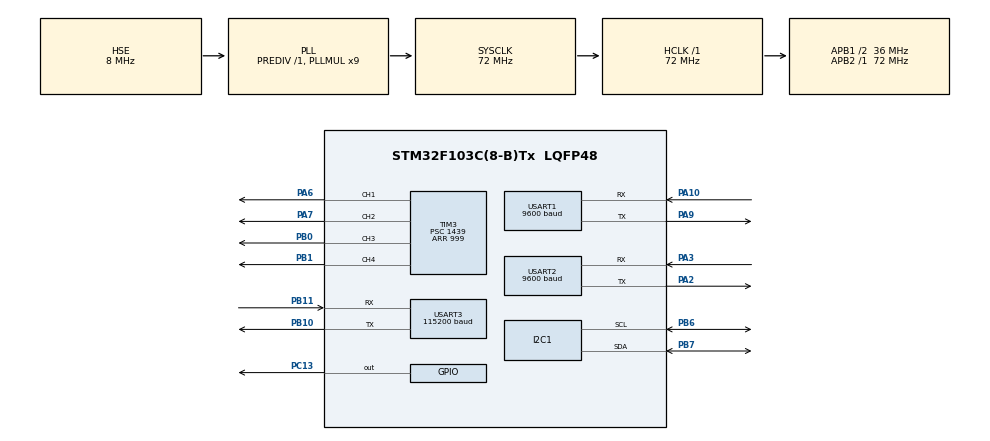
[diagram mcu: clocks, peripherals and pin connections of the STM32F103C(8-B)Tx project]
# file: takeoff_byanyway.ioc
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FREERTOS.Tasks01=defaultTask,0,128,StartDefaultTask,Default,NULL,Dynamic,NULL,NULL;myTask02,0,128,StartTask02,Default,NULL,Dynamic,NULL,NULL;myTask03,0,128,StartTask03,Default,NULL,Dynamic,NULL,NULL
Mcu.Family=STM32F1
Mcu.Name=STM32F103C(8-B)Tx
Mcu.Package=LQFP48
NVIC.PriorityGroup=NVIC_PRIORITYGROUP_4
NVIC.TIM1_UP_IRQn=true\:15\:0\:false\:false\:true\:false\:false\:true\:true
NVIC.TimeBase=TIM1_UP_IRQn
NVIC.TimeBaseIP=TIM1
NVIC.USART1_IRQn=true\:5\:0\:false\:false\:true\:true\:true\:true\:true
NVIC.USART2_IRQn=true\:5\:0\:false\:false\:true\:true\:true\:true\:true
NVIC.USART3_IRQn=true\:5\:0\:false\:false\:true\:true\:true\:true\:true
PA10.Mode=Asynchronous
PA10.Signal=USART1_RX
PA13.Mode=Serial_Wire
PA13.Signal=SYS_JTMS-SWDIO
PA14.Mode=Serial_Wire
PA14.Signal=SYS_JTCK-SWCLK
PA2.Mode=Asynchronous
PA2.Signal=USART2_TX
PA3.Mode=Asynchronous
PA3.Signal=USART2_RX
PA6.Signal=S_TIM3_CH1
PA7.Signal=S_TIM3_CH2
PA9.Mode=Asynchronous
PA9.Signal=USART1_TX
PB0.Signal=S_TIM3_CH3
PB1.Signal=S_TIM3_CH4
PB10.Mode=Asynchronous
PB10.Signal=USART3_TX
PB11.Mode=Asynchronous
PB11.Signal=USART3_RX
PB6.Mode=I2C
PB6.Signal=I2C1_SCL
PB7.Mode=I2C
PB7.Signal=I2C1_SDA
PC13-TAMPER-RTC.Signal=GPIO_Output
PD0-OSC_IN.Mode=HSE-External-Oscillator
PD0-OSC_IN.Signal=RCC_OSC_IN
PD1-OSC_OUT.Mode=HSE-External-Oscillator
PD1-OSC_OUT.Signal=RCC_OSC_OUT
ProjectManager.HeapSize=0x200
ProjectManager.StackSize=0x400
ProjectManager.TargetToolchain=STM32CubeIDE
RCC.ADCPresc=RCC_ADCPCLK2_DIV6
RCC.AHBFreq_Value=72000000
RCC.APB1CLKDivider=RCC_HCLK_DIV2
RCC.APB1Freq_Value=36000000
RCC.APB1TimFreq_Value=72000000
RCC.APB2Freq_Value=72000000
RCC.APB2TimFreq_Value=72000000
RCC.HCLKFreq_Value=72000000
RCC.PLLMUL=RCC_PLL_MUL9
RCC.PLLSourceVirtual=RCC_PLLSOURCE_HSE
RCC.SYSCLKFreq_VALUE=72000000
RCC.SYSCLKSource=RCC_SYSCLKSOURCE_PLLCLK
RCC.USBFreq_Value=72000000
SH.S_TIM3_CH1.0=TIM3_CH1,PWM Generation1 CH1
SH.S_TIM3_CH2.0=TIM3_CH2,PWM Generation2 CH2
SH.S_TIM3_CH3.0=TIM3_CH3,PWM Generation3 CH3
SH.S_TIM3_CH4.0=TIM3_CH4,PWM Generation4 CH4
TIM3.Channel-PWM\ Generation1\ CH1=TIM_CHANNEL_1
TIM3.Channel-PWM\ Generation2\ CH2=TIM_CHANNEL_2
TIM3.Channel-PWM\ Generation3\ CH3=TIM_CHANNEL_3
TIM3.Channel-PWM\ Generation4\ CH4=TIM_CHANNEL_4
TIM3.Period=999
TIM3.Prescaler=1439
USART1.BaudRate=9600
USART1.VirtualMode=VM_ASYNC
USART2.BaudRate=9600
USART2.VirtualMode=VM_ASYNC
USART3.BaudRate=115200
USART3.VirtualMode=VM_ASYNC
VP_FREERTOS_VS_CMSIS_V1.Mode=CMSIS_V1
VP_SYS_VS_tim1.Mode=TIM1
VP_TIM3_VS_ClockSourceINT.Mode=Internal
board=custom

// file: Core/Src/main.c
/* USER CODE BEGIN Header */
/**
  ******************************************************************************
  * @file           : main.c
  * @brief          : Main program body
  ******************************************************************************
  * @attention
  *
  * Copyright (c) 2022 STMicroelectronics.
  * All rights reserved.
  *
  * This software is licensed under terms that can be found in the LICENSE file
  * in the root directory of this software component.
  * If no LICENSE file comes with this software, it is provided AS-IS.
  *
  ******************************************************************************
  */
/* USER CODE END Header */
#include "main.h"
#include "cmsis_os.h"

/* USER CODE BEGIN Includes */
#include "TJ_MPU6050.h"
#include "stdio.h"
#include "micros.h"
#include "stdlib.h"
#include "packet.h"
#include "string.h"
/* USER CODE END Includes */

I2C_HandleTypeDef hi2c1;

TIM_HandleTypeDef htim3;

UART_HandleTypeDef huart1;
UART_HandleTypeDef huart2;
UART_HandleTypeDef huart3;

osThreadId defaultTaskHandle;
osThreadId myTask02Handle;
osThreadId myTask03Handle;

void SystemClock_Config(void);
static void MX_GPIO_Init(void);
static void MX_I2C1_Init(void);
static void MX_TIM3_Init(void);
static void MX_USART2_UART_Init(void);
static void MX_USART3_UART_Init(void);
static void MX_USART1_UART_Init(void);
void StartDefaultTask(void const * argument);
void StartTask02(void const * argument);
void StartTask03(void const * argument);

/* USER CODE BEGIN PFP */
#define MAX_SAMPLE_ADC 10

#define WAIT_FOR_DIRECTING 100000

#define MAX_BUFFER_SIZE 30

#ifdef __GNUC__
#define PUTCHAR_PROTOTYPE int __io_putchar(int ch)
#else
#define PUTCHAR_PROTOTYPE int fputc(int ch, FILE *f)
#endif /* __GNUC__ */

/**
  * @brief  Retargets the C library printf function to the USART.
  * @param  None
  * @retval None
  */
PUTCHAR_PROTOTYPE
{
  HAL_UART_Transmit(&huart2, (uint8_t *)&ch, 1, 200);
  return ch;
}

typedef struct
{
		uint8_t flag;
		uint8_t buff[MAX_BUFFER_SIZE];
		uint8_t index;
} Uart_Typedef;

static uint8_t        data_rx;
Uart_Typedef huart_data;

/* USER CODE END PFP */

/* USER CODE BEGIN 0 */

void HAL_UART_RxCpltCallback(UART_HandleTypeDef *huart)
{
        if(huart->Instance == huart3.Instance)
        {
			if(data_rx == 'Z')
			{
					huart_data.flag = 1;
			}
			else
			{
				huart_data.buff[huart_data.index++] = data_rx;
				if(huart_data.index > MAX_BUFFER_SIZE)
				{
					huart_data.index = 0;
				}
			}
			HAL_UART_Receive_IT(&huart3, &data_rx, 1);
        }
}
// pwm
int testPWM = 0;

// mpu
RawData_Def myAccelRaw, myGyroRaw, myMagRaw;
Offset offset;
double pitchA, pitchG;
int status;
float SelfTest[6]; // -> new
long sampling_timer;                          // integration interval for both filter schemes
uint32_t lastUpdate = 0, firstUpdate = 0;         // used to calculate integration interval
uint32_t Now = 0;
float axg, ayg, azg, gxrs, gyrs, gzrs;
ScaledData_Def myAccelScaled, myGyroScaled;
updateQuater upQua;
q_volatile qVol;
rawpitchyaw rpy;

// pid
float sampleFreq = 0.0f;
PID_param pid;
float last_sampleFreq;
float LF_1_wing;
float RF_2_wing;
float RB_3_wing;
float LB_4_wing;

float desired_roll_angle = 0;
float desired_pitch_angle = 0;
float desired_yaw_angle = 0;
float temp_count_roll = 0;
float temp_count_pitch = 0;

float temp = 1200;
float last_yaw;
//For fly status
uint8_t is_already_to_fly = 0;
uint8_t is_stop_flying = 0;
uint8_t is_init = 0;
uint16_t Init_CCR = 1160;

//GPS_t GPS;

/* USER CODE END 0 */

int main(void)
{
  /* USER CODE BEGIN 1 */
	MPU_ConfigTypeDef myMpuConfig;
  /* USER CODE END 1 */

  /* MCU Configuration--------------------------------------------------------*/

  /* Reset of all peripherals, Initializes the Flash interface and the Systick. */
  HAL_Init();

  /* Configure the system clock */
  SystemClock_Config();

  /* Initialize all configured peripherals */
  MX_GPIO_Init();
  MX_I2C1_Init();
  MX_TIM3_Init();
  MX_USART2_UART_Init();
  MX_USART3_UART_Init();
  MX_USART1_UART_Init();
  /* USER CODE BEGIN 2 */

  HAL_GPIO_WritePin(GPIOC, GPIO_PIN_13, GPIO_PIN_SET);
  HAL_UART_Receive_IT(&huart3, &data_rx, 1);

  DWT_Init();
  HAL_TIM_PWM_Start(&htim3, TIM_CHANNEL_1);
  HAL_TIM_PWM_Start(&htim3, TIM_CHANNEL_2);
  HAL_TIM_PWM_Start(&htim3, TIM_CHANNEL_3);
  HAL_TIM_PWM_Start(&htim3, TIM_CHANNEL_4);

  // mpu raw
  MPU6050_Init(&hi2c1);
  myMpuConfig.Accel_Full_Scale = AFS_SEL_8g;
  myMpuConfig.ClockSource = Internal_8MHz;
  myMpuConfig.CONFIG_DLPF = DLPF_260A_256G_Hz;
  myMpuConfig.Gyro_Full_Scale = FS_SEL_2000;
  myMpuConfig.Sleep_Mode_Bit = 0; // 1: sleep mode; 0: normal mode
  MPU6050_Config(&myMpuConfig);
  Calibration(&offset, &status); // 5000ms

  //Calibration done
  HAL_GPIO_TogglePin(GPIOC, GPIO_PIN_13);
  HAL_Delay(300);
  HAL_GPIO_TogglePin(GPIOC, GPIO_PIN_13);
  HAL_Delay(300);
  HAL_GPIO_TogglePin(GPIOC, GPIO_PIN_13);
  HAL_Delay(300);
  HAL_GPIO_TogglePin(GPIOC, GPIO_PIN_13);
  HAL_Delay(300);
  HAL_GPIO_TogglePin(GPIOC, GPIO_PIN_13);
  HAL_Delay(300);
  HAL_GPIO_TogglePin(GPIOC, GPIO_PIN_13);
  HAL_Delay(300);

  //GPS_Init();

  // pid
  sampling_timer = micros();
  qVol.q0 =  1.0f;
  qVol.q1 =  0.0f;
  qVol.q2 =  0.0f;
  qVol.q3 =  0.0f;
  pid.pid_d = 0;
  pid.pid_i = 0;
  pid.pid_p = 0;
//  pid.Kp_roll = 3.501;
//  pid.Ki_roll = 0.001;
//  pid.Kd_roll = 0.4;
//  pid.Kp_pitch = 3.501;
//  pid.Ki_pitch = 0.001;
//  pid.Kd_pitch = 0.4;

// 25/04: PID01 Balance P only
  pid.Kp_roll = 2.55;
  pid.Ki_roll = 0.008;
  pid.Kd_roll = 0.045;

//Best for now
//  pid.Kp_roll = 2.5;
//  pid.Ki_roll = 0.0005;
//  pid.Kd_roll = 0.115;

  //dung day can bang PID quay demo
//  pid.Kp_roll = 2.3;
//  pid.Ki_roll = 0.0001;
//  pid.Kd_roll = 0.13;

//  pid.Kp_roll = 3.0;
//  pid.Ki_roll = 0.000001;
//  pid.Kd_roll = 0.15;

//  ROL P 00.901 I 00.001 D 00.201 Z -> pid 1 truc
//  ROL P 01.250 I 00.001 D 00.221 Z -> P manh hon nhung dao dong hon.
//  ROL P 01.950 I 00.001 D 00.271 Z -> PID 2 truc
  pid.Kp_pitch = 3.6;//pid.Kp_roll / 2.0;
  pid.Ki_pitch = 0.0005;//pid.Ki_roll / 2.0;
  pid.Kd_pitch = 0.075;//pid.Kd_roll / 2.0;

  pid.Kp_yaw = 0.65;
  pid.Ki_yaw = 0.000001;
  pid.Kd_yaw = 0.002;

  pid.time = HAL_GetTick(); //   time = millis(); on arduino

//  HAL_Delay(5000);
  HAL_GPIO_WritePin(GPIOC, GPIO_PIN_13, GPIO_PIN_SET);
  /* USER CODE END 2 */

  /* Create the thread(s) */
  /* definition and creation of defaultTask */
  osThreadDef(defaultTask, StartDefaultTask, osPriorityNormal, 0, 128);
  defaultTaskHandle = osThreadCreate(osThread(defaultTask), NULL);

  /* definition and creation of myTask02 */
  osThreadDef(myTask02, StartTask02, osPriorityNormal, 0, 128);
  myTask02Handle = osThreadCreate(osThread(myTask02), NULL);

  /* definition and creation of myTask03 */
  osThreadDef(myTask03, StartTask03, osPriorityNormal, 0, 128);
  myTask03Handle = osThreadCreate(osThread(myTask03), NULL);

  /* Start scheduler */
  osKernelStart();

  /* We should never get here as control is now taken by the scheduler */
  /* Infinite loop */
  while (1)
  {

  }
}

void SystemClock_Config(void)
{
  RCC_OscInitTypeDef RCC_OscInitStruct = {0};
  RCC_ClkInitTypeDef RCC_ClkInitStruct = {0};

  /** Initializes the RCC Oscillators according to the specified parameters
  * in the RCC_OscInitTypeDef structure.
  */
  RCC_OscInitStruct.OscillatorType = RCC_OSCILLATORTYPE_HSE;
  RCC_OscInitStruct.HSEState = RCC_HSE_ON;
  RCC_OscInitStruct.HSEPredivValue = RCC_HSE_PREDIV_DIV1;
  RCC_OscInitStruct.HSIState = RCC_HSI_ON;
  RCC_OscInitStruct.PLL.PLLState = RCC_PLL_ON;
  RCC_OscInitStruct.PLL.PLLSource = RCC_PLLSOURCE_HSE;
  RCC_OscInitStruct.PLL.PLLMUL = RCC_PLL_MUL9;
  if (HAL_RCC_OscConfig(&RCC_OscInitStruct) != HAL_OK)
  {
    Error_Handler();
  }

  /** Initializes the CPU, AHB and APB buses clocks
  */
  RCC_ClkInitStruct.ClockType = RCC_CLOCKTYPE_HCLK|RCC_CLOCKTYPE_SYSCLK
                              |RCC_CLOCKTYPE_PCLK1|RCC_CLOCKTYPE_PCLK2;
  RCC_ClkInitStruct.SYSCLKSource = RCC_SYSCLKSOURCE_PLLCLK;
  RCC_ClkInitStruct.AHBCLKDivider = RCC_SYSCLK_DIV1;
  RCC_ClkInitStruct.APB1CLKDivider = RCC_HCLK_DIV2;
  RCC_ClkInitStruct.APB2CLKDivider = RCC_HCLK_DIV1;

  if (HAL_RCC_ClockConfig(&RCC_ClkInitStruct, FLASH_LATENCY_2) != HAL_OK)
  {
    Error_Handler();
  }
}

static void MX_I2C1_Init(void)
{

  hi2c1.Instance = I2C1;
  hi2c1.Init.ClockSpeed = 100000;
  hi2c1.Init.DutyCycle = I2C_DUTYCYCLE_2;
  hi2c1.Init.OwnAddress1 = 0;
  hi2c1.Init.AddressingMode = I2C_ADDRESSINGMODE_7BIT;
  hi2c1.Init.DualAddressMode = I2C_DUALADDRESS_DISABLE;
  hi2c1.Init.OwnAddress2 = 0;
  hi2c1.Init.GeneralCallMode = I2C_GENERALCALL_DISABLE;
  hi2c1.Init.NoStretchMode = I2C_NOSTRETCH_DISABLE;
  if (HAL_I2C_Init(&hi2c1) != HAL_OK)
  {
    Error_Handler();
  }

}

static void MX_TIM3_Init(void)
{

  TIM_ClockConfigTypeDef sClockSourceConfig = {0};
  TIM_MasterConfigTypeDef sMasterConfig = {0};
  TIM_OC_InitTypeDef sConfigOC = {0};

  htim3.Instance = TIM3;
  htim3.Init.Prescaler = 1439;
  htim3.Init.CounterMode = TIM_COUNTERMODE_UP;
  htim3.Init.Period = 999;
  htim3.Init.ClockDivision = TIM_CLOCKDIVISION_DIV1;
  htim3.Init.AutoReloadPreload = TIM_AUTORELOAD_PRELOAD_DISABLE;
  if (HAL_TIM_Base_Init(&htim3) != HAL_OK)
  {
    Error_Handler();
  }
  sClockSourceConfig.ClockSource = TIM_CLOCKSOURCE_INTERNAL;
  if (HAL_TIM_ConfigClockSource(&htim3, &sClockSourceConfig) != HAL_OK)
  {
    Error_Handler();
  }
  if (HAL_TIM_PWM_Init(&htim3) != HAL_OK)
  {
    Error_Handler();
  }
  sMasterConfig.MasterOutputTrigger = TIM_TRGO_RESET;
  sMasterConfig.MasterSlaveMode = TIM_MASTERSLAVEMODE_DISABLE;
  if (HAL_TIMEx_MasterConfigSynchronization(&htim3, &sMasterConfig) != HAL_OK)
  {
    Error_Handler();
  }
  sConfigOC.OCMode = TIM_OCMODE_PWM1;
  sConfigOC.Pulse = 0;
  sConfigOC.OCPolarity = TIM_OCPOLARITY_HIGH;
  sConfigOC.OCFastMode = TIM_OCFAST_DISABLE;
  if (HAL_TIM_PWM_ConfigChannel(&htim3, &sConfigOC, TIM_CHANNEL_1) != HAL_OK)
  {
    Error_Handler();
  }
  if (HAL_TIM_PWM_ConfigChannel(&htim3, &sConfigOC, TIM_CHANNEL_2) != HAL_OK)
  {
    Error_Handler();
  }
  if (HAL_TIM_PWM_ConfigChannel(&htim3, &sConfigOC, TIM_CHANNEL_3) != HAL_OK)
  {
    Error_Handler();
  }
  if (HAL_TIM_PWM_ConfigChannel(&htim3, &sConfigOC, TIM_CHANNEL_4) != HAL_OK)
  {
    Error_Handler();
  }
  HAL_TIM_MspPostInit(&htim3);

}

static void MX_USART1_UART_Init(void)
{

  huart1.Instance = USART1;
  huart1.Init.BaudRate = 9600;
  huart1.Init.WordLength = UART_WORDLENGTH_8B;
  huart1.Init.StopBits = UART_STOPBITS_1;
  huart1.Init.Parity = UART_PARITY_NONE;
  huart1.Init.Mode = UART_MODE_TX_RX;
  huart1.Init.HwFlowCtl = UART_HWCONTROL_NONE;
  huart1.Init.OverSampling = UART_OVERSAMPLING_16;
  if (HAL_UART_Init(&huart1) != HAL_OK)
  {
    Error_Handler();
  }

}

static void MX_USART2_UART_Init(void)
{

  huart2.Instance = USART2;
  huart2.Init.BaudRate = 9600;
  huart2.Init.WordLength = UART_WORDLENGTH_8B;
  huart2.Init.StopBits = UART_STOPBITS_1;
  huart2.Init.Parity = UART_PARITY_NONE;
  huart2.Init.Mode = UART_MODE_TX_RX;
  huart2.Init.HwFlowCtl = UART_HWCONTROL_NONE;
  huart2.Init.OverSampling = UART_OVERSAMPLING_16;
  if (HAL_UART_Init(&huart2) != HAL_OK)
  {
    Error_Handler();
  }

}

static void MX_USART3_UART_Init(void)
{

  huart3.Instance = USART3;
  huart3.Init.BaudRate = 115200;
  huart3.Init.WordLength = UART_WORDLENGTH_8B;
  huart3.Init.StopBits = UART_STOPBITS_1;
  huart3.Init.Parity = UART_PARITY_NONE;
  huart3.Init.Mode = UART_MODE_TX_RX;
  huart3.Init.HwFlowCtl = UART_HWCONTROL_NONE;
  huart3.Init.OverSampling = UART_OVERSAMPLING_16;
  if (HAL_UART_Init(&huart3) != HAL_OK)
  {
    Error_Handler();
  }

}

static void MX_GPIO_Init(void)
{
  GPIO_InitTypeDef GPIO_InitStruct = {0};

  /* GPIO Ports Clock Enable */
  __HAL_RCC_GPIOC_CLK_ENABLE();
  __HAL_RCC_GPIOD_CLK_ENABLE();
  __HAL_RCC_GPIOA_CLK_ENABLE();
  __HAL_RCC_GPIOB_CLK_ENABLE();

  /*Configure GPIO pin Output Level */
  HAL_GPIO_WritePin(GPIOC, GPIO_PIN_13, GPIO_PIN_RESET);

  /*Configure GPIO pin : PC13 */
  GPIO_InitStruct.Pin = GPIO_PIN_13;
  GPIO_InitStruct.Mode = GPIO_MODE_OUTPUT_PP;
  GPIO_InitStruct.Pull = GPIO_NOPULL;
  GPIO_InitStruct.Speed = GPIO_SPEED_FREQ_LOW;
  HAL_GPIO_Init(GPIOC, &GPIO_InitStruct);

}

void StartDefaultTask(void const * argument)
{
  /* USER CODE BEGIN 5 */
  /* Infinite loop */
  for(;;)
  {
		  MPU6050_Get_Accel_RawData(&myAccelRaw);
		  MPU6050_Get_Gyro_RawData(&myGyroRaw);
		  //MPU6050_Get_Mag_RawData(&myMagRaw);
		  updateQuaternion(myAccelRaw, myGyroRaw, myMagRaw,offset, &upQua);

		  Now = micros();
		  if (Now < lastUpdate)
			  {
		  //	      sampleFreq = 1582;
			  sampleFreq = last_sampleFreq;
			  }
		  else
			  sampleFreq = (1000000.0f / (Now - lastUpdate)); // set integration time by time elapsed since last filter update

		  lastUpdate = Now;//	  if (Now == 25000000)
		  last_sampleFreq = sampleFreq;

		  //MahonyAHRSupdateIMU(upQua, sampleFreq, &qVol);
		  //sampleFreq
		  MahonyAHRSupdate(upQua, sampleFreq, &qVol);

		  //last_yaw = rpy.yaw;
		  mpu6050_getRollPitchYaw(qVol, &rpy);
//		  if(abs(rpy.yaw - last_yaw) < 1)
//			  rpy.yaw = rpy.yaw - (rpy.yaw - last_yaw);

		  PID(&rpy, &pid, 1, Init_CCR, desired_roll_angle, desired_pitch_angle, desired_yaw_angle); // roll

		  LF_1_wing = (pid.pwm_LF_1)/20;
		  RF_2_wing = (pid.pwm_RF_2)/20;
		  RB_3_wing = (pid.pwm_RB_3)/20;
		  LB_4_wing = (pid.pwm_LB_4)/20;
  }
  /* USER CODE END 5 */
}

void StartTask02(void const * argument)
{
  /* USER CODE BEGIN StartTask02 */
  /* Infinite loop */
  char roll_buffer[5];
  char pitch_buffer[5];

  for(;;)
  {
	gcvt(rpy.roll, 4, roll_buffer);
	gcvt(rpy.pitch, 4, pitch_buffer);

	//printf("Roll_Angle: %s, Pitch_Angle: %s, CCR: %d,LF: %d, RF: %d, RB: %d, LB: %d\n", roll_angle_buffer, pitch_angle_buffer, (int)Init_CCR, (int)pid.pwm_LF_1, (int)pid.pwm_RF_2, (int)pid.pwm_RB_3, (int)pid.pwm_LB_4);
	printf("%s,%s,%d,\n", roll_buffer, pitch_buffer, Init_CCR);
	//printf("%s,%s,%d,\n", lat_buffer, long_buffer, Init_CCR);
	//printf("%d, %d, %d, %d \n", (int)pid.pwm_LF_1, (int)pid.pwm_RF_2, (int)pid.pwm_RB_3, (int)pid.pwm_LB_4);
	//printf("Hello\n");
	//printf("input_voltage_percentage: %d\n", (int)myADC.input_voltage_percentage);
	//HAL_GPIO_TogglePin(GPIOC, GPIO_PIN_13);
	//printf("%f,%f,%d\n", GPS.dec_latitude, GPS.dec_longitude, Init_CCR);
	osDelay(1000);
  }
  /* USER CODE END StartTask02 */
}

void StartTask03(void const * argument)
{
  /* USER CODE BEGIN StartTask03 */
  /* Infinite loop */
//	char PID_Roll_Kp[6];
//	char PID_Roll_Ki[6];
//	char PID_Roll_Kd[6];
//	char PID_Pitch_Kp[6];
//	char PID_Pitch_Ki[6];
//	char PID_Pitch_Kd[6];
//	char Total_string[45] = "PID:";
//	char PID_Pitch_Kp[6];
//	char PID_Pitch_Ki[6];
//	char PID_Pitch_Kd[6];
  for(;;)
  {
	  if(huart_data.flag == 1){
		    HAL_GPIO_TogglePin(GPIOC, GPIO_PIN_13);	//Received command
	  		//ROL P 00.123 I 00.124 D 00.123 Z
	  		if(huart_data.buff[0] == 82 && huart_data.buff[1] == 79 && huart_data.buff[2] == 76){
	  			  pid.Kp_roll = Ascii_to_Int(huart_data.buff[6])*10
	  					  	  + Ascii_to_Int(huart_data.buff[7])*1
	  			  	  	  	  + Ascii_to_Int(huart_data.buff[9])*0.1
	  						  + Ascii_to_Int(huart_data.buff[10])*0.01
	  						  + Ascii_to_Int(huart_data.buff[11])*0.001;
	  			  pid.Ki_roll = Ascii_to_Int(huart_data.buff[15])*10
	  						  + Ascii_to_Int(huart_data.buff[16])*1
	  						  + Ascii_to_Int(huart_data.buff[18])*0.1
	  						  + Ascii_to_Int(huart_data.buff[19])*0.01
	  						  + Ascii_to_Int(huart_data.buff[20])*0.001;
	  			  pid.Kd_roll = Ascii_to_Int(huart_data.buff[24])*10
	  						  + Ascii_to_Int(huart_data.buff[25])*1
	  						  + Ascii_to_Int(huart_data.buff[27])*0.1
	  						  + Ascii_to_Int(huart_data.buff[28])*0.01
	  						  + Ascii_to_Int(huart_data.buff[29])*0.001;
	  		}
	  		//PIT P 00.123 I 00.124 D 00.123 Z
	  		else if(huart_data.buff[0] == 80 && huart_data.buff[1] == 73 && huart_data.buff[2] == 84){
	  			  pid.Kp_pitch = Ascii_to_Int(huart_data.buff[6])*10
	  					  	  + Ascii_to_Int(huart_data.buff[7])*1
	  			  	  	  	  + Ascii_to_Int(huart_data.buff[9])*0.1
	  						  + Ascii_to_Int(huart_data.buff[10])*0.01
	  						  + Ascii_to_Int(huart_data.buff[11])*0.001;
	  			  pid.Ki_pitch = Ascii_to_Int(huart_data.buff[15])*10
	  						  + Ascii_to_Int(huart_data.buff[16])*1
	  						  + Ascii_to_Int(huart_data.buff[18])*0.1
	  						  + Ascii_to_Int(huart_data.buff[19])*0.01
	  						  + Ascii_to_Int(huart_data.buff[20])*0.001;
	  			  pid.Kd_pitch = Ascii_to_Int(huart_data.buff[24])*10
	  						  + Ascii_to_Int(huart_data.buff[25])*1
	  						  + Ascii_to_Int(huart_data.buff[27])*0.1
	  						  + Ascii_to_Int(huart_data.buff[28])*0.01
	  						  + Ascii_to_Int(huart_data.buff[29])*0.001;
	  		}
	  		//cmd = "CCR 1600 Z"
	  		else if(huart_data.buff[0] == 67 && huart_data.buff[1] == 67 && huart_data.buff[2] == 82){
	  				Init_CCR = Ascii_to_Int(huart_data.buff[4])*1000 +
	  						Ascii_to_Int(huart_data.buff[5])*100 +
	  						Ascii_to_Int(huart_data.buff[6])*10 +
	  						Ascii_to_Int(huart_data.buff[7])*1;
	  				is_stop_flying = 0;
	  				is_already_to_fly = 1;
	  		}
	  		//cmd = "ICRR Z"
	  		else if(huart_data.buff[0] == 73 && huart_data.buff[1] == 67 && huart_data.buff[2] == 67 && huart_data.buff[3] == 82){
	  				Init_CCR +=2;
	  		}
	  		//cmd = "DCCR Z"
	  		else if(huart_data.buff[0] == 68 && huart_data.buff[1] == 67 && huart_data.buff[2] == 67 && huart_data.buff[3] == 82){
	  				Init_CCR -=5;
	  		}
	  		//cmd = "INIT Z"
	  		else if(huart_data.buff[0] == 73 && huart_data.buff[1] == 78 && huart_data.buff[2] == 73 && huart_data.buff[3] == 84){
	  				is_init = 1;
	  		}
	  		//cmd = STOP Z
	  		else if(huart_data.buff[0] == 83 && huart_data.buff[1] == 84 && huart_data.buff[2] == 79 && huart_data.buff[3] == 80){
	  				is_stop_flying = 1;
	  		}
	  		//cmd = LEFT Z
	  		else if(huart_data.buff[0] == 76 && huart_data.buff[1] == 69 && huart_data.buff[2] == 70 && huart_data.buff[3] == 84){
	  				desired_roll_angle = -8;
	  				temp_count_roll = WAIT_FOR_DIRECTING;
	  		}
	  		//cmd = RIGHT Z
	  		else if(huart_data.buff[0] == 82 && huart_data.buff[1] == 73 && huart_data.buff[2] == 71 && huart_data.buff[3] == 72 && huart_data.buff[4] == 84){
	  				desired_roll_angle = 8;
	  				temp_count_roll = WAIT_FOR_DIRECTING;
	  		}
	  		//cmd = FORWARD Z
	  		else if(huart_data.buff[0] == 70 && huart_data.buff[1] == 79 && huart_data.buff[2] == 82 && huart_data.buff[3] == 87 && huart_data.buff[4] == 65 && huart_data.buff[5] == 82 && huart_data.buff[6] == 68){
	  				desired_pitch_angle = -8;
	  				temp_count_pitch = WAIT_FOR_DIRECTING;
	  		}
	  		//cmd = BACKWARD Z
	  		else if(huart_data.buff[0] == 66 && huart_data.buff[1] == 65 && huart_data.buff[2] == 67 && huart_data.buff[3] == 75 && huart_data.buff[4] == 87 && huart_data.buff[5] == 65 && huart_data.buff[6] == 82 && huart_data.buff[7] == 68){
	  				desired_pitch_angle = 8;
	  				temp_count_pitch = WAIT_FOR_DIRECTING;
	  		}
			memset(huart_data.buff, 0, MAX_BUFFER_SIZE);
			huart_data.index = 0;
			huart_data.flag = 0;
	  }
	  	  //direction

	  if(temp_count_roll > 0)
	  {
		  temp_count_roll = temp_count_roll - 1;
	  }
	  else if(temp_count_roll == 0)
	  {
		  desired_roll_angle = 0;
	  }

	  if(temp_count_pitch > 0)
	  {
		  temp_count_pitch = temp_count_pitch - 1;
	  }
	  else if(temp_count_pitch == 0)
	  {
		  desired_pitch_angle = 0;
	  }

	  if(is_init == 1){
		  for(int i=50; i<=60; i++){
			  //debug
			  htim3.Instance->CCR2 = i;
			  htim3.Instance->CCR3 = i;
			  htim3.Instance->CCR1 = i;
			  htim3.Instance->CCR4 = i;
			  HAL_Delay(200);
		  }

		  for(int i = 60; i>=50; i--){
			  //debug9
			  htim3.Instance->CCR2 = i;
			  htim3.Instance->CCR3 = i;
			  htim3.Instance->CCR1 = i;
			  htim3.Instance->CCR4 = i;
			  HAL_Delay(200);
		  }
		  is_init = 0;
	  }

	  if(is_stop_flying == 1)
	  {
		  htim3.Instance->CCR2 = 50;
		  htim3.Instance->CCR3 = 50;
		  htim3.Instance->CCR1 = 50;
		  htim3.Instance->CCR4 = 50;
		  is_already_to_fly = 0;
	  }

	  if(is_already_to_fly == 1)
	  {
		  htim3.Instance->CCR2 = RF_2_wing;
		  htim3.Instance->CCR3 = RB_3_wing;
		  htim3.Instance->CCR1 = LF_1_wing;
		  htim3.Instance->CCR4 = LB_4_wing;
	  }
  }
  /* USER CODE END StartTask03 */
}

void HAL_TIM_PeriodElapsedCallback(TIM_HandleTypeDef *htim)
{
  if (htim->Instance == TIM1) {
    HAL_IncTick();
  }
}

void Error_Handler(void)
{
  __disable_irq();
  while (1)
  {
  }
}
